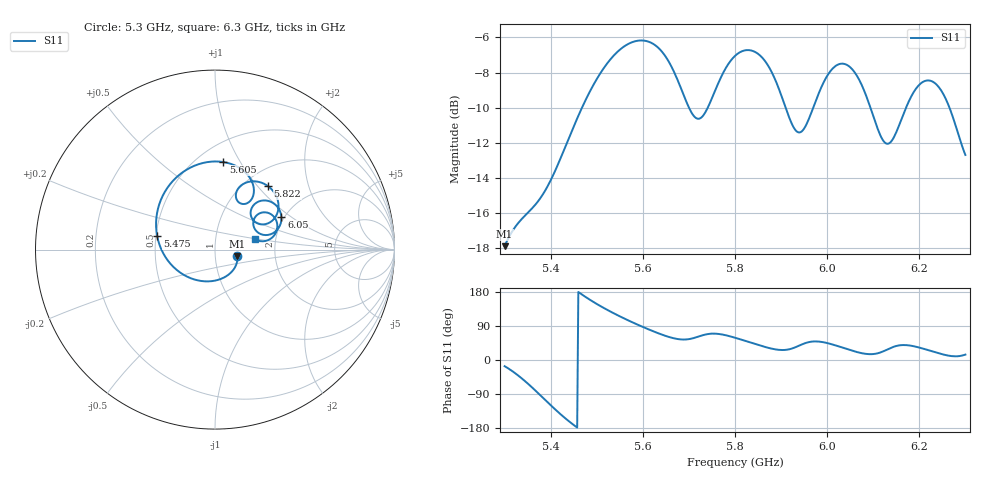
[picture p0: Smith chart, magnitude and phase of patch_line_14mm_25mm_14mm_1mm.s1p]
! Created with skrf 1.8.0 (http://scikit-rf.org).
# Hz S RI R 50.0
!freq ReS11 ImS11
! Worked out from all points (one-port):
!   401 points, 5.3 GHz to 6.3 GHz, reference 50 ohm
!   lowest |S11| = -17.9 dB at 5.3 GHz (marker M1), VSWR 1.29, Z = 63.8 - j4.65 ohm
!   |S11| at or under -10 dB: start of sweep to 5.468 GHz; 5.91 GHz to 5.97 GHz (59.94 MHz wide, 1.01 % of centre); 6.094 GHz to 6.171 GHz (77.38 MHz wide, 1.26 % of centre)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
!   S11 on the Smith chart (normalised r, x): 5.3 GHz: 1.28, -0.09; 5.475 GHz: 0.51, +0.09; 5.605 GHz: 0.66, +0.85; 5.822 GHz: 1.26, +1.14; 6.05 GHz: 1.93, +0.84; 6.3 GHz: 1.57, +0.19
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5.3e9  0.1224 -0.0359
5.3375e9  0.1006 -0.1148
5.375e9  -0.000249 -0.1729
5.425e9  -0.1951 -0.1271
5.475e9  -0.3222 0.075
5.51e9  -0.3105 0.2526
5.55e9  -0.1969 0.4181
5.5775e9  -0.0789 0.4795
5.605e9  0.0459 0.4879
5.6425e9  0.1814 0.4169
5.675e9  0.2158 0.3131
5.7225e9  0.1356 0.2611
5.7575e9  0.1245 0.3328
5.8e9  0.23 0.3796
5.8225e9  0.2939 0.3546
5.8725e9  0.3519 0.2201
5.9e9  0.3081 0.153
5.925e9  0.2417 0.1442
5.95e9  0.2001 0.1897
5.995e9  0.2628 0.2732
6.05e9  0.37 0.1815
6.0925e9  0.3086 0.085
6.1275e9  0.2249 0.1098
6.175e9  0.2527 0.2038
6.205e9  0.3187 0.1924
6.235e9  0.3475 0.1279
6.27e9  0.2997 0.0546
6.3e9  0.2248 0.0573
